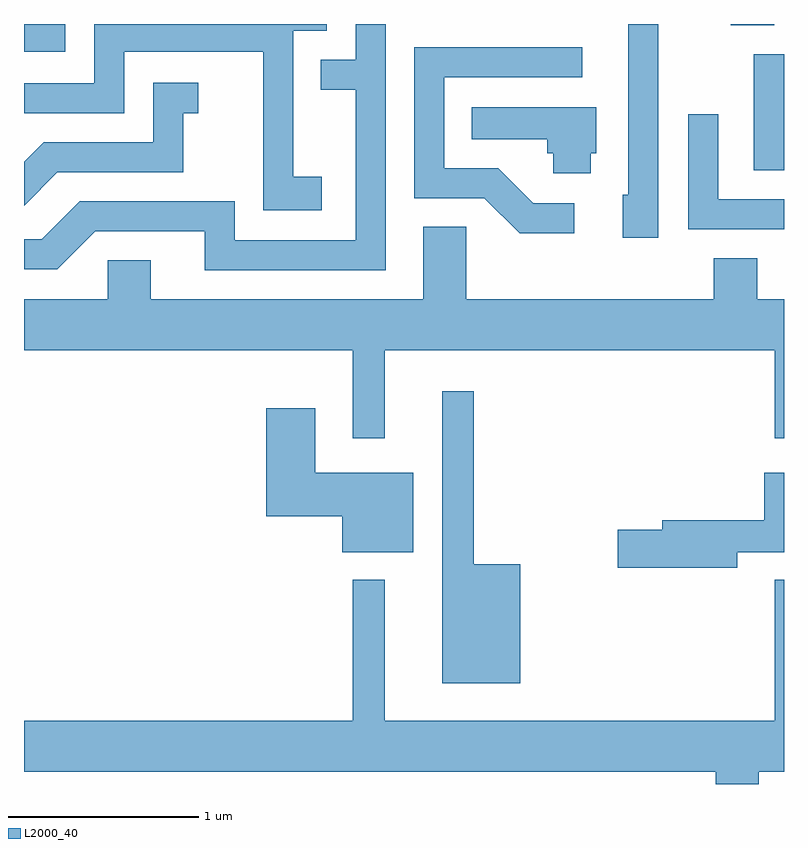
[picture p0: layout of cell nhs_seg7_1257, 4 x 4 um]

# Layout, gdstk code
import gdstk
lib = gdstk.Library(unit=1e-6, precision=1e-09)
def R(c, l, rs):  # rectangles x0, y0, x1, y1
    for r in rs: c.add(gdstk.rectangle(r[:2], r[2:], *l))
def P(c, l, *ps):  # polygons
    for p in ps: c.add(gdstk.Polygon(p, *l))
L2000_40 = (2000, 40)

nhs_seg7_1257 = lib.new_cell('nhs_seg7_1257')
R(nhs_seg7_1257, L2000_40, [(227.451,1717.481,227.611,1718.094), (223.611,1718.106,223.829,1718.252), (227.331,1718.246,227.559,1718.252)])
P(nhs_seg7_1257, L2000_40, [(225.179,1717.449),(225.029,1717.449),(225.029,1718.216),(225.204,1718.216),(225.204,1718.252),(223.981,1718.252),(223.981,1717.939),(223.611,1717.939),(223.611,1717.781),(224.139,1717.781),(224.139,1718.106),(224.871,1718.106),(224.871,1717.271),(225.179,1717.271)],
  [(225.514,1718.252),(225.356,1718.252),(225.356,1718.064),(225.173,1718.064),(225.173,1717.906),(225.356,1717.906),(225.356,1717.114),(224.719,1717.114),(224.719,1717.319),(223.904,1717.319),(223.704,1717.119),(223.611,1717.119),(223.611,1716.961),(223.787,1716.961),(223.987,1717.161),(224.561,1717.161),(224.561,1716.956),(225.514,1716.956)],
  [(226.949,1718.252),(226.791,1718.252),(226.791,1717.354),(226.761,1717.354),(226.761,1717.126),(226.949,1717.126)],
  [(226.508,1717.309),(226.292,1717.309),(226.107,1717.494),(225.824,1717.494),(225.824,1717.971),(226.548,1717.971),(226.548,1718.129),(225.666,1718.129),(225.666,1717.336),(226.034,1717.336),(226.219,1717.151),(226.508,1717.151)],
  [(223.787,1717.471),(224.449,1717.471),(224.449,1717.781),(224.528,1717.781),(224.528,1717.944),(224.291,1717.944),(224.291,1717.629),(223.714,1717.629),(223.611,1717.526),(223.611,1717.296),(223.612,1717.296)],
  [(226.594,1717.571),(226.624,1717.571),(226.624,1717.814),(225.968,1717.814),(225.968,1717.646),(226.366,1717.646),(226.366,1717.571),(226.396,1717.571),(226.396,1717.466),(226.594,1717.466)],
  [(227.611,1717.329),(227.264,1717.329),(227.264,1717.778),(227.106,1717.778),(227.106,1717.171),(227.611,1717.171)],
  [(225.509,1716.536),(227.561,1716.536),(227.561,1716.073),(227.611,1716.073),(227.611,1716.804),(227.469,1716.804),(227.469,1717.019),(227.241,1717.019),(227.241,1716.804),(225.939,1716.804),(225.939,1717.184),(225.711,1717.184),(225.711,1716.804),(224.279,1716.804),(224.279,1717.009),(224.051,1717.009),(224.051,1716.804),(223.611,1716.804),(223.611,1716.536),(225.341,1716.536),(225.341,1716.073),(225.509,1716.073)],
  [(226.224,1715.409),(225.979,1715.409),(225.979,1716.318),(225.811,1716.318),(225.811,1714.781),(226.224,1714.781)],
  [(225.659,1715.889),(225.144,1715.889),(225.144,1716.229),(224.886,1716.229),(224.886,1715.661),(225.286,1715.661),(225.286,1715.471),(225.659,1715.471)],
  [(227.364,1715.471),(227.611,1715.471),(227.611,1715.889),(227.506,1715.889),(227.506,1715.639),(226.971,1715.639),(226.971,1715.589),(226.736,1715.589),(226.736,1715.391),(227.364,1715.391)],
  [(227.479,1714.316),(227.611,1714.316),(227.611,1715.328),(227.561,1715.328),(227.561,1714.584),(225.509,1714.584),(225.509,1715.328),(225.341,1715.328),(225.341,1714.584),(223.611,1714.584),(223.611,1714.316),(227.251,1714.316),(227.251,1714.252),(227.479,1714.252)])

lib.write_gds('nhs_seg7_1257.gds')
